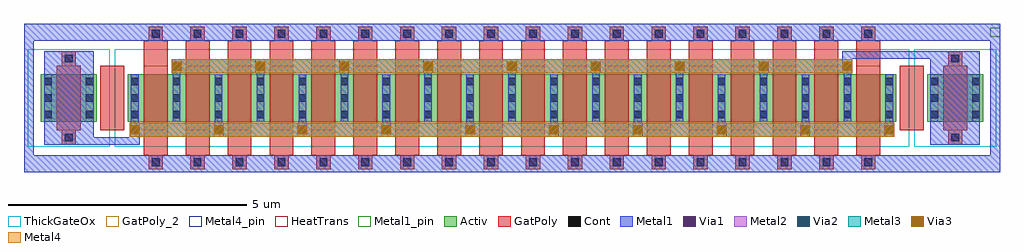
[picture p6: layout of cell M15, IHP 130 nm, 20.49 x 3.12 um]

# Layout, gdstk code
import gdstk
lib = gdstk.Library(unit=1e-6, precision=1e-09)
def R(c, l, rs):  # rectangles x0, y0, x1, y1
    for r in rs: c.add(gdstk.rectangle(r[:2], r[2:], *l))
def A(c, l, x, y, w, h, nx, ny, dx, dy):  # array of equal rectangles
    R(c, l, [(x+i*dx, y+j*dy, x+i*dx+w, y+j*dy+h) for i in range(nx) for j in range(ny)])
Activ = (1, 0)
GatPoly = (5, 0)
GatPoly_2 = (5, 2)
Cont = (6, 0)
Metal1 = (8, 0)
Metal1_pin = (8, 2)
Metal2 = (10, 0)
Via1 = (19, 0)
Via2 = (29, 0)
Metal3 = (30, 0)
ThickGateOx = (44, 0)
Via3 = (49, 0)
Metal4 = (50, 0)
Metal4_pin = (50, 2)
HeatTrans = (51, 0)

nmoshv_1_priv1 = lib.new_cell('nmosHV$1_priv1')
A(nmoshv_1_priv1, Activ, 0, 0, 0.3, 0.3, 19, 1, 0.88, 0)
R(nmoshv_1_priv1, Activ, [(0,0,16.14,1)])
A(nmoshv_1_priv1, GatPoly, 0.44, -1, 0.3, 0.3, 18, 2, 0.88, 2.7)
A(nmoshv_1_priv1, GatPoly, 0.34, -0.7, 0.5, 0.52, 18, 2, 0.88, 1.88)
A(nmoshv_1_priv1, GatPoly, 0.34, -0.18, 0.5, 1.36, 18, 1, 0.88, 0)
R(nmoshv_1_priv1, GatPoly_2, [(0.34,-0.18,0.84,1.18)])
A(nmoshv_1_priv1, Cont, 0.51, -0.93, 0.16, 0.16, 18, 2, 0.88, 2.7)
A(nmoshv_1_priv1, Cont, 0.07, 0.07, 0.16, 0.16, 19, 3, 0.88, 0.35)
A(nmoshv_1_priv1, Metal1, 0.455, -1.06, 0.27, 0.36, 18, 2, 0.88, 2.76)
A(nmoshv_1_priv1, Metal1, 0.045, -0.31, 0.21, 0.29, 10, 1, 1.76, 0)
A(nmoshv_1_priv1, Metal1, 0.07, -0.035, 0.16, 0.05, 10, 1, 1.76, 0)
A(nmoshv_1_priv1, Metal1, 0.07, 0, 0.16, 1, 19, 1, 0.88, 0)
A(nmoshv_1_priv1, Metal1, 0.95, 0.985, 0.16, 0.05, 9, 1, 1.76, 0)
A(nmoshv_1_priv1, Metal1, 0.925, 1.02, 0.21, 0.29, 9, 1, 1.76, 0)
R(nmoshv_1_priv1, Metal1_pin, [(0.07,0,0.23,1), (0.95,0,1.11,1)])
A(nmoshv_1_priv1, Metal2, 0.05, -0.31, 0.2, 0.29, 10, 1, 1.76, 0)
A(nmoshv_1_priv1, Metal2, 0.93, 1.02, 0.2, 0.29, 9, 1, 1.76, 0)
R(nmoshv_1_priv1, Metal2, [(0.05,-0.31,16.09,-0.02), (0.93,1.02,15.21,1.31)])
A(nmoshv_1_priv1, Via1, 0.055, -0.26, 0.19, 0.19, 10, 1, 1.76, 0)
A(nmoshv_1_priv1, Via1, 0.935, 1.07, 0.19, 0.19, 9, 1, 1.76, 0)
A(nmoshv_1_priv1, Via2, 0.055, -0.26, 0.19, 0.19, 10, 1, 1.76, 0)
A(nmoshv_1_priv1, Via2, 0.935, 1.07, 0.19, 0.19, 9, 1, 1.76, 0)
A(nmoshv_1_priv1, Metal3, 0.05, -0.31, 0.2, 0.29, 10, 1, 1.76, 0)
A(nmoshv_1_priv1, Metal3, 0.93, 1.02, 0.2, 0.29, 9, 1, 1.76, 0)
R(nmoshv_1_priv1, Metal3, [(0.05,-0.31,16.09,-0.02), (0.93,1.02,15.21,1.31)])
R(nmoshv_1_priv1, ThickGateOx, [(-0.27,-0.52,16.41,1.52)])
A(nmoshv_1_priv1, Via3, 0.055, -0.26, 0.19, 0.19, 10, 1, 1.76, 0)
A(nmoshv_1_priv1, Via3, 0.935, 1.07, 0.19, 0.19, 9, 1, 1.76, 0)
A(nmoshv_1_priv1, Metal4, 0.05, -0.31, 0.2, 0.29, 10, 1, 1.76, 0)
A(nmoshv_1_priv1, Metal4, 0.93, 1.02, 0.2, 0.29, 9, 1, 1.76, 0)
R(nmoshv_1_priv1, Metal4, [(0.05,-0.31,16.09,-0.02), (0.93,1.02,15.21,1.31)])
R(nmoshv_1_priv1, Metal4_pin, [(15.895,-0.26,16.085,-0.07), (15.015,1.07,15.205,1.26)])
A(nmoshv_1_priv1, HeatTrans, 0.34, -0.18, 0.5, 1.36, 18, 1, 0.88, 0)
nmoshv_1_priv1.add(gdstk.Label('nmosHV', (0.59,0.5), layer=63, texttype=0))
nmoshv_1_priv1.add(gdstk.Label('nmosHV', (0.59,0.5), layer=51, texttype=0))
nmoshv_1_priv1.add(gdstk.Label('nmosHV', (1.47,0.5), layer=51, texttype=0))
nmoshv_1_priv1.add(gdstk.Label('nmosHV', (2.35,0.5), layer=51, texttype=0))
nmoshv_1_priv1.add(gdstk.Label('nmosHV', (3.23,0.5), layer=51, texttype=0))
nmoshv_1_priv1.add(gdstk.Label('nmosHV', (4.11,0.5), layer=51, texttype=0))
nmoshv_1_priv1.add(gdstk.Label('nmosHV', (4.99,0.5), layer=51, texttype=0))
nmoshv_1_priv1.add(gdstk.Label('nmosHV', (5.87,0.5), layer=51, texttype=0))
nmoshv_1_priv1.add(gdstk.Label('nmosHV', (6.75,0.5), layer=51, texttype=0))
nmoshv_1_priv1.add(gdstk.Label('nmosHV', (7.63,0.5), layer=51, texttype=0))
nmoshv_1_priv1.add(gdstk.Label('nmosHV', (8.51,0.5), layer=51, texttype=0))
nmoshv_1_priv1.add(gdstk.Label('nmosHV', (9.39,0.5), layer=51, texttype=0))
nmoshv_1_priv1.add(gdstk.Label('nmosHV', (10.27,0.5), layer=51, texttype=0))
nmoshv_1_priv1.add(gdstk.Label('nmosHV', (11.15,0.5), layer=51, texttype=0))
nmoshv_1_priv1.add(gdstk.Label('nmosHV', (12.03,0.5), layer=51, texttype=0))
nmoshv_1_priv1.add(gdstk.Label('nmosHV', (12.91,0.5), layer=51, texttype=0))
nmoshv_1_priv1.add(gdstk.Label('nmosHV', (13.79,0.5), layer=51, texttype=0))
nmoshv_1_priv1.add(gdstk.Label('nmosHV', (14.67,0.5), layer=51, texttype=0))
nmoshv_1_priv1.add(gdstk.Label('nmosHV', (15.55,0.5), layer=51, texttype=0))
nmoshv_1_priv1.add(gdstk.Label('S', (15.11,1.165), layer=50, texttype=0))
nmoshv_1_priv1.add(gdstk.Label('D', (15.99,-0.165), layer=50, texttype=0))

nmoshv_7_priv3 = lib.new_cell('nmosHV$7_priv3')
R(nmoshv_7_priv3, Activ, [(0,0,0.3,0.3), (0,0,1.18,1), (0.88,0,1.18,0.3)])
R(nmoshv_7_priv3, GatPoly, [(0.44,-0.48,0.74,-0.18), (0.34,-0.18,0.84,1.18), (0.44,1.18,0.74,1.48)])
R(nmoshv_7_priv3, GatPoly_2, [(0.34,-0.18,0.84,1.18)])
A(nmoshv_7_priv3, Cont, 0.07, 0.07, 0.16, 0.16, 1, 3, 0, 0.35)
A(nmoshv_7_priv3, Cont, 0.95, 0.07, 0.16, 0.16, 1, 3, 0, 0.35)
R(nmoshv_7_priv3, Cont, [(0.51,-0.41,0.67,-0.25), (0.51,1.25,0.67,1.41)])
R(nmoshv_7_priv3, Metal1, [(0.07,-0.48,1.11,1.48), (0.07,0,0.23,1), (0.95,0,1.11,1)])
R(nmoshv_7_priv3, Metal1_pin, [(0.07,0,0.23,1), (0.95,0,1.11,1)])
R(nmoshv_7_priv3, ThickGateOx, [(-0.27,-0.52,1.45,1.52)])
R(nmoshv_7_priv3, HeatTrans, [(0.34,-0.18,0.84,1.18)])
nmoshv_7_priv3.add(gdstk.Label('nmosHV', (0.59,0.5), layer=63, texttype=0))
nmoshv_7_priv3.add(gdstk.Label('nmosHV', (0.59,0.5), layer=51, texttype=0))

nmoshv_7_priv4 = lib.new_cell('nmosHV$7_priv4')
R(nmoshv_7_priv4, Activ, [(0,0,0.3,0.3), (0,0,1.18,1), (0.88,0,1.18,0.3)])
R(nmoshv_7_priv4, GatPoly, [(0.44,-0.48,0.74,-0.18), (0.34,-0.18,0.84,1.18), (0.44,1.18,0.74,1.48)])
R(nmoshv_7_priv4, GatPoly_2, [(0.34,-0.18,0.84,1.18)])
A(nmoshv_7_priv4, Cont, 0.07, 0.07, 0.16, 0.16, 1, 3, 0, 0.35)
A(nmoshv_7_priv4, Cont, 0.95, 0.07, 0.16, 0.16, 1, 3, 0, 0.35)
R(nmoshv_7_priv4, Cont, [(0.51,-0.41,0.67,-0.25), (0.51,1.25,0.67,1.41)])
R(nmoshv_7_priv4, Metal1, [(0.07,-0.48,1.11,1.48), (0.07,0,0.23,1), (0.95,0,1.11,1)])
R(nmoshv_7_priv4, Metal1_pin, [(0.07,0,0.23,1), (0.95,0,1.11,1)])
R(nmoshv_7_priv4, ThickGateOx, [(-0.27,-0.52,1.45,1.52)])
R(nmoshv_7_priv4, HeatTrans, [(0.34,-0.18,0.84,1.18)])
nmoshv_7_priv4.add(gdstk.Label('nmosHV', (0.59,0.5), layer=63, texttype=0))
nmoshv_7_priv4.add(gdstk.Label('nmosHV', (0.59,0.5), layer=51, texttype=0))

m15 = lib.new_cell('M15')
R(m15, GatPoly, [(24.27,288.57,24.77,289.93), (41.055,288.57,41.555,289.93)])
R(m15, Metal1, [(22.67,287.69,43.16,288.05), (22.67,287.69,22.87,290.81), (42.96,287.69,43.16,290.81), (24.13,288.27,25.1,288.43), (24.89,288.43,25.1,288.73), (39.85,289.77,40.06,290.07), (39.85,290.07,41.7,290.23), (22.67,290.45,43.16,290.81)])
R(m15, Metal1_pin, [(42.96,290.535,43.16,290.725)])
m15.add(gdstk.Reference(nmoshv_1_priv1, (24.845,288.75)))
m15.add(gdstk.Reference(nmoshv_7_priv3, (23.02,288.75)))
m15.add(gdstk.Reference(nmoshv_7_priv4, (41.63,288.75)))

lib.write_gds('M15.gds')
